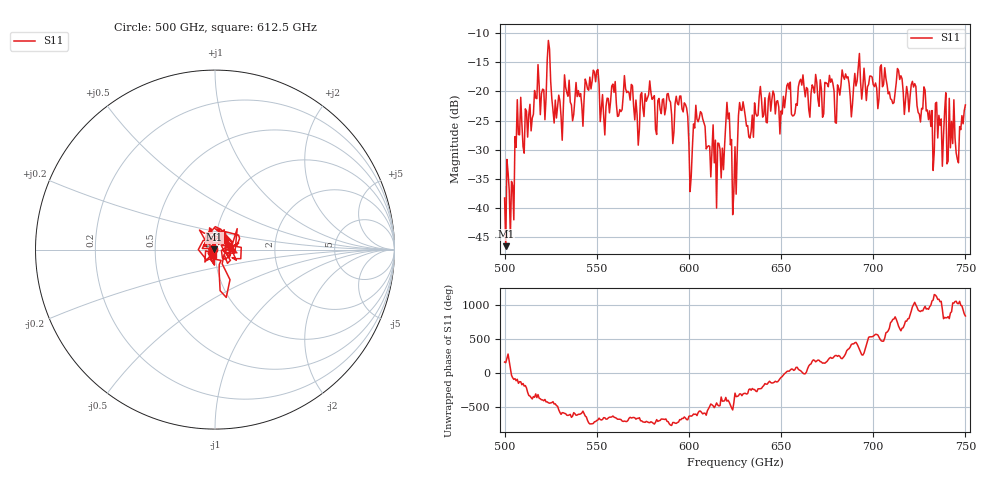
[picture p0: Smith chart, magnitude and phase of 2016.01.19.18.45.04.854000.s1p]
!Created with skrf (http://scikit-rf.org).
# GHz S RI R 50.0
!freq ReS11 ImS11
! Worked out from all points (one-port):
!   401 points, 500 GHz to 750 GHz, reference 50 ohm
!   lowest |S11| = -46.5 dB at 500.6 GHz (marker M1), VSWR 1.01, Z = 49.6 + j0.228 ohm
!   |S11| at or under -10 dB: start of sweep to end of sweep
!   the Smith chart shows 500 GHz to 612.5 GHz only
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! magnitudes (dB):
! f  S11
! 500 GHz  -38.3
! 500.6 GHz  -46.5
! 503.8 GHz  -35.4
! 508.1 GHz  -27.4
! 520.6 GHz  -19.6
! 523.8 GHz  -11.3
! 526.9 GHz  -25.4
! 531.2 GHz  -28.4
! 549.4 GHz  -18.3
! 553.1 GHz  -20.5
! 558.8 GHz  -18.7
! 562.5 GHz  -23.1
! 593.8 GHz  -22.1
! 598.1 GHz  -22.2
! 601.2 GHz  -34.5
! 605 GHz  -25.2
! 616.2 GHz  -28.9
! 621.2 GHz  -24.7
! 625 GHz  -29.5
! 628.1 GHz  -23.2
! 633.8 GHz  -26.9
! 638.1 GHz  -20.9
! 656.2 GHz  -24.2
! 660.6 GHz  -17.9
! 687.5 GHz  -20.9
! 718.8 GHz  -20.4
! 745.6 GHz  -31.6
! 750 GHz  -22.3
